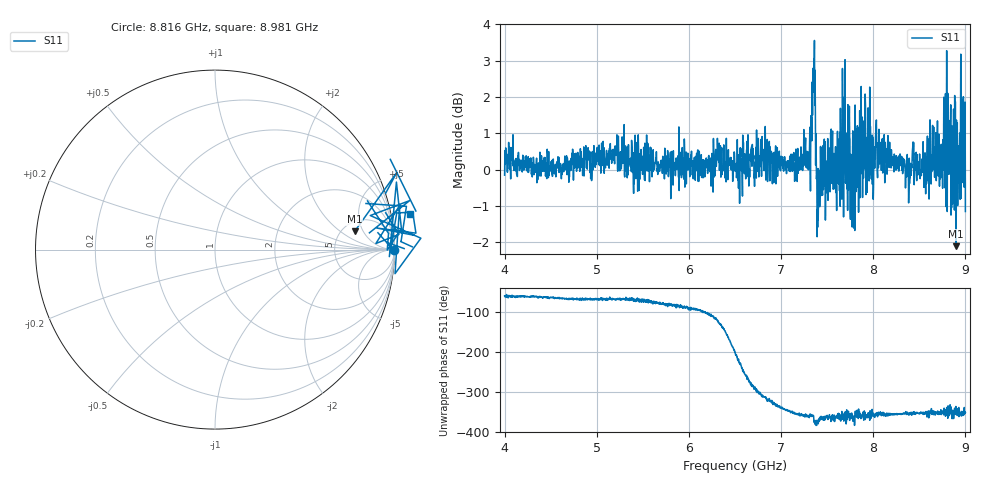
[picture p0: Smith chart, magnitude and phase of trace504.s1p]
! Created with skrf 1.8.0 (http://scikit-rf.org).
# Hz S RI R 50.0
!freq ReS11 ImS11
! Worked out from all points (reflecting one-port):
!   1601 points, 4 GHz to 9 GHz, reference 50 ohm
!   lowest |S11| = -2.1 dB at 8.9 GHz (marker M1), VSWR 8.27, Z = 323 + j169 ohm
!   phase of S11 starts at -60 deg and turns -292 deg over the sweep
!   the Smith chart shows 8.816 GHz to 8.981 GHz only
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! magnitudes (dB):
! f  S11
! 4 GHz  -0.2
! 4.625 GHz  -0.1
! 5.25 GHz  0.0
! 5.875 GHz  0.1
! 6.5 GHz  0.0
! 6.803 GHz  0.6
! 7.125 GHz  0.3
! 7.294 GHz  0.0
! 7.347 GHz  2.8
! 7.362 GHz  3.6
! 7.4 GHz  0.0
! 7.412 GHz  -0.9
! 7.453 GHz  -0.1
! 7.538 GHz  1.0
! 7.591 GHz  0.6
! 7.669 GHz  1.6
! 7.75 GHz  -1.1
! 7.775 GHz  0.3
! 7.894 GHz  -0.2
! 7.944 GHz  1.7
! 8.05 GHz  0.7
! 8.375 GHz  0.1
! 8.728 GHz  -0.3
! 8.816 GHz  0.0
! 8.841 GHz  1.8
! 8.9 GHz  -2.1
! 8.972 GHz  0.5
! 9 GHz  -1.2
